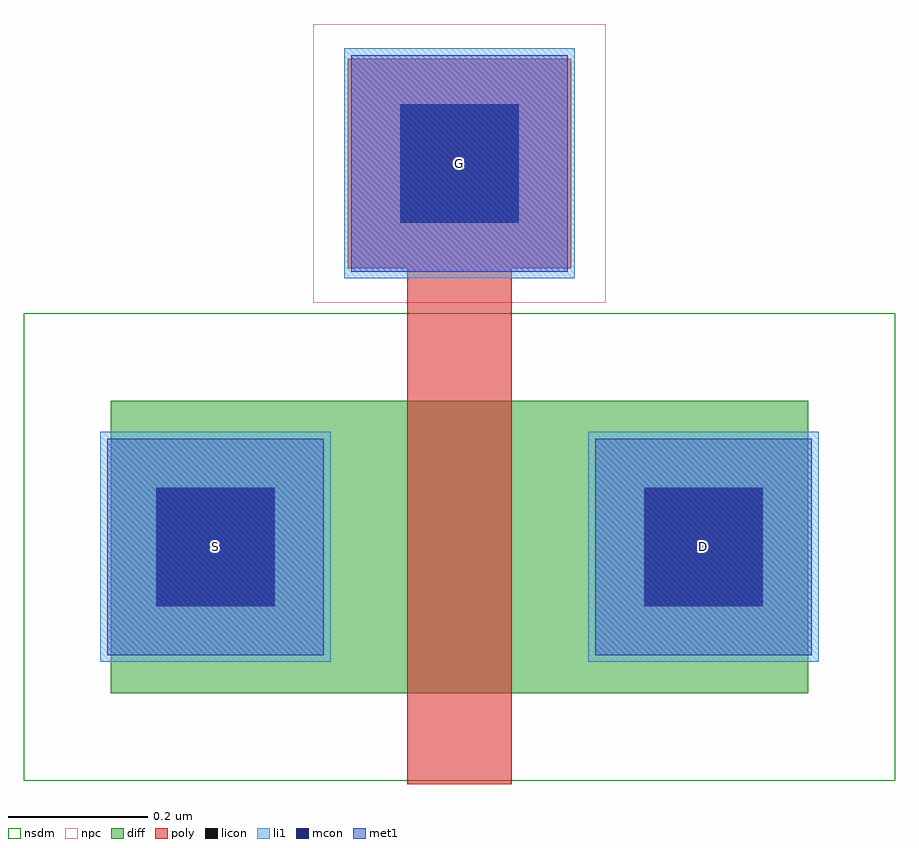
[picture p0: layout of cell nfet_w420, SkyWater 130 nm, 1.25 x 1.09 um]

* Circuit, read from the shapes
.subckt nfet_w420 D G S
XM1 D G S VSUBS sky130_fd_pr__nfet_01v8 w=0.42 l=0.15
.ends

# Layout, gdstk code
import gdstk
lib = gdstk.Library(unit=1e-6, precision=1e-09)
def R(c, l, rs):  # rectangles x0, y0, x1, y1
    for r in rs: c.add(gdstk.rectangle(r[:2], r[2:], *l))
def P(c, l, *ps):  # polygons
    for p in ps: c.add(gdstk.Polygon(p, *l))
diff = (65, 20)
poly = (66, 20)
licon = (66, 44)
li1 = (67, 20)
mcon = (67, 44)
met1 = (68, 20)
nsdm = (93, 44)
npc = (95, 20)

nfet_w420 = lib.new_cell('nfet_w420')
R(nfet_w420, diff, [(-0.5,-0.21,0.5,0.21)])
P(nfet_w420, poly, [(0.075,-0.34),(0.075,0.4),(0.16,0.4),(0.16,0.7),(-0.16,0.7),(-0.16,0.4),(-0.075,0.4),(-0.075,-0.34)])
R(nfet_w420, licon, [(-0.435,-0.085,-0.265,0.085), (0.265,-0.085,0.435,0.085), (-0.085,0.465,0.085,0.635)])
R(nfet_w420, li1, [(-0.515,-0.165,-0.185,0.165), (0.185,-0.165,0.515,0.165), (-0.165,0.385,0.165,0.715)])
R(nfet_w420, mcon, [(-0.435,-0.085,-0.265,0.085), (0.265,-0.085,0.435,0.085), (-0.085,0.465,0.085,0.635)])
R(nfet_w420, met1, [(-0.505,-0.155,-0.195,0.155), (0.195,-0.155,0.505,0.155), (-0.155,0.395,0.155,0.705)])
R(nfet_w420, nsdm, [(-0.625,-0.335,0.625,0.335)])
R(nfet_w420, npc, [(-0.21,0.35,0.21,0.75)])
nfet_w420.add(gdstk.Label('S', (-0.35,0), layer=68, texttype=5))
nfet_w420.add(gdstk.Label('D', (0.35,0), layer=68, texttype=5))
nfet_w420.add(gdstk.Label('G', (0,0.55), layer=68, texttype=5))

lib.write_gds('nfet_w420.gds')
